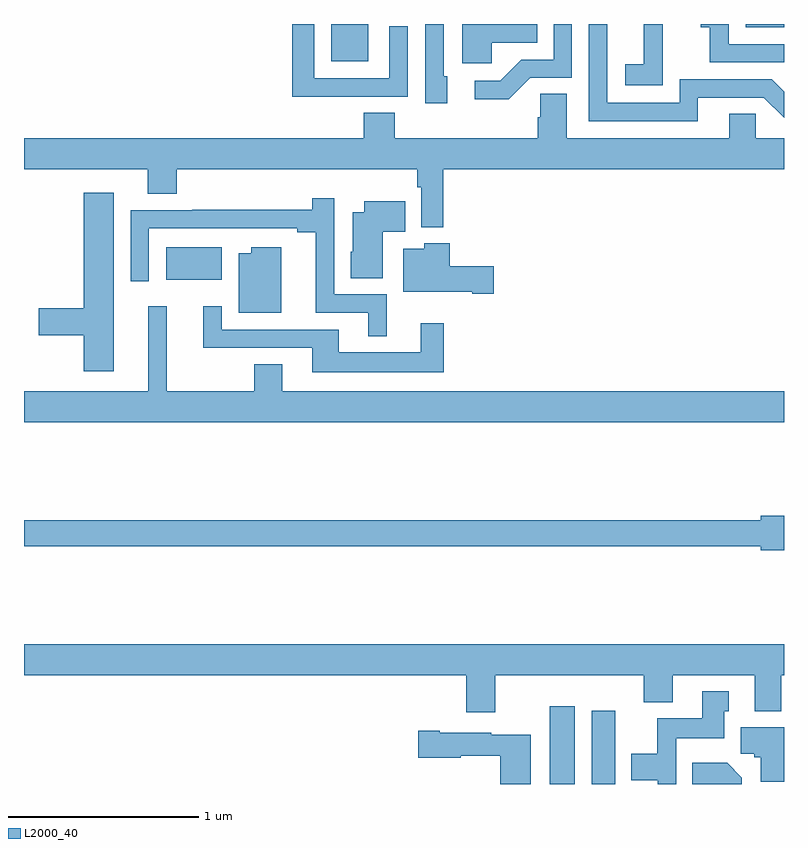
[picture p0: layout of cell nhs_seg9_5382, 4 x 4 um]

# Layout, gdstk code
import gdstk
lib = gdstk.Library(unit=1e-6, precision=1e-09)
def R(c, l, rs):  # rectangles x0, y0, x1, y1
    for r in rs: c.add(gdstk.rectangle(r[:2], r[2:], *l))
def P(c, l, *ps):  # polygons
    for p in ps: c.add(gdstk.Polygon(p, *l))
L2000_40 = (2000, 40)

nhs_seg9_5382 = lib.new_cell('nhs_seg9_5382')
R(nhs_seg9_5382, L2000_40, [(425.768,1210.5,425.899,1210.909), (425.987,1210.5,426.112,1210.885), (423.749,1213.154,424.042,1213.324), (424.616,1214.303,424.813,1214.5), (426.798,1214.484,427,1214.5)])
P(nhs_seg9_5382, L2000_40, [(425.664,1214.217),(425.883,1214.217),(425.883,1214.5),(425.787,1214.5),(425.787,1214.313),(425.618,1214.313),(425.507,1214.202),(425.373,1214.202),(425.373,1214.105),(425.551,1214.105)],
  [(427,1214.394),(426.708,1214.394),(426.708,1214.5),(426.561,1214.5),(426.561,1214.483),(426.61,1214.483),(426.61,1214.298),(427,1214.298)],
  [(424.703,1214.118),(425.019,1214.118),(425.019,1214.488),(424.923,1214.488),(424.923,1214.214),(424.527,1214.214),(424.527,1214.5),(424.411,1214.5),(424.411,1214.117),(424.703,1214.117)],
  [(425.463,1214.402),(425.702,1214.402),(425.702,1214.5),(425.306,1214.5),(425.306,1214.294),(425.463,1214.294)],
  [(426.363,1214.383),(426.362,1214.383),(426.362,1214.5),(426.263,1214.5),(426.263,1214.287),(426.165,1214.287),(426.165,1214.177),(426.363,1214.177)],
  [(426.547,1214.112),(426.894,1214.112),(427,1214.006),(427,1214.144),(426.936,1214.208),(426.45,1214.208),(426.45,1214.085),(426.069,1214.085),(426.069,1214.5),(425.973,1214.5),(425.973,1213.989),(426.547,1213.989)],
  [(425.227,1214.226),(425.208,1214.226),(425.208,1214.5),(425.112,1214.5),(425.112,1214.082),(425.227,1214.082)],
  [(425.207,1213.736),(427,1213.736),(427,1213.9),(426.852,1213.9),(426.852,1214.027),(426.713,1214.027),(426.713,1213.9),(425.857,1213.9),(425.857,1214.132),(425.718,1214.132),(425.718,1214.009),(425.705,1214.009),(425.705,1213.9),(424.952,1213.9),(424.952,1214.033),(424.787,1214.033),(424.787,1213.9),(423,1213.9),(423,1213.736),(423.65,1213.736),(423.65,1213.606),(423.803,1213.606),(423.803,1213.736),(425.071,1213.736),(425.071,1213.64),(425.091,1213.64),(425.091,1213.43),(425.207,1213.43)],
  [(423.472,1213.612),(423.314,1213.612),(423.314,1213.004),(423.078,1213.004),(423.078,1212.862),(423.314,1212.862),(423.314,1212.672),(423.472,1212.672)],
  [(424.909,1213.077),(424.632,1213.077),(424.632,1213.582),(424.516,1213.582),(424.516,1213.523),(423.886,1213.523),(423.886,1213.521),(423.561,1213.521),(423.561,1213.146),(423.657,1213.146),(423.657,1213.425),(424.439,1213.425),(424.439,1213.405),(424.535,1213.405),(424.535,1212.981),(424.811,1212.981),(424.811,1212.857),(424.909,1212.857)],
  [(424.888,1213.406),(425.006,1213.406),(425.006,1213.567),(424.79,1213.567),(424.79,1213.51),(424.73,1213.51),(424.73,1213.302),(424.721,1213.302),(424.721,1213.162),(424.888,1213.162)],
  [(425.473,1213.226),(425.24,1213.226),(425.24,1213.345),(425.106,1213.345),(425.106,1213.318),(424.997,1213.318),(424.997,1213.091),(425.36,1213.091),(425.36,1213.079),(425.473,1213.079)],
  [(424.354,1213.324),(424.196,1213.324),(424.196,1213.294),(424.13,1213.294),(424.13,1212.98),(424.354,1212.98)],
  [(427,1212.568),(424.36,1212.568),(424.36,1212.71),(424.213,1212.71),(424.213,1212.568),(423.752,1212.568),(423.752,1213.015),(423.653,1213.015),(423.653,1212.568),(423,1212.568),(423,1212.404),(427,1212.404)],
  [(425.209,1212.925),(425.087,1212.925),(425.087,1212.772),(424.657,1212.772),(424.657,1212.891),(424.041,1212.891),(424.041,1213.015),(423.944,1213.015),(423.944,1212.795),(424.517,1212.795),(424.517,1212.668),(425.209,1212.668)],
  [(427,1211.912),(426.878,1211.912),(426.878,1211.888),(423,1211.888),(423,1211.752),(426.878,1211.752),(426.878,1211.729),(427,1211.729)],
  [(425.479,1211.072),(426.263,1211.072),(426.263,1210.931),(426.415,1210.931),(426.415,1211.072),(426.845,1211.072),(426.845,1210.883),(426.985,1210.883),(426.985,1211.072),(427,1211.072),(427,1211.236),(423,1211.236),(423,1211.072),(425.327,1211.072),(425.327,1210.878),(425.479,1210.878)],
  [(426.432,1210.742),(426.685,1210.742),(426.685,1210.884),(426.709,1210.884),(426.709,1210.987),(426.569,1210.987),(426.569,1210.846),(426.334,1210.846),(426.334,1210.66),(426.197,1210.66),(426.197,1210.52),(426.336,1210.52),(426.336,1210.5),(426.432,1210.5)],
  [(427,1210.798),(426.773,1210.798),(426.773,1210.66),(426.843,1210.66),(426.843,1210.642),(426.878,1210.642),(426.878,1210.512),(427,1210.512)],
  [(425.668,1210.759),(425.46,1210.759),(425.46,1210.771),(425.188,1210.771),(425.188,1210.779),(425.076,1210.779),(425.076,1210.637),(425.298,1210.637),(425.298,1210.649),(425.506,1210.649),(425.506,1210.5),(425.668,1210.5)],
  [(426.778,1210.534),(426.7,1210.612),(426.517,1210.612),(426.517,1210.5),(426.778,1210.5)])

lib.write_gds('nhs_seg9_5382.gds')
